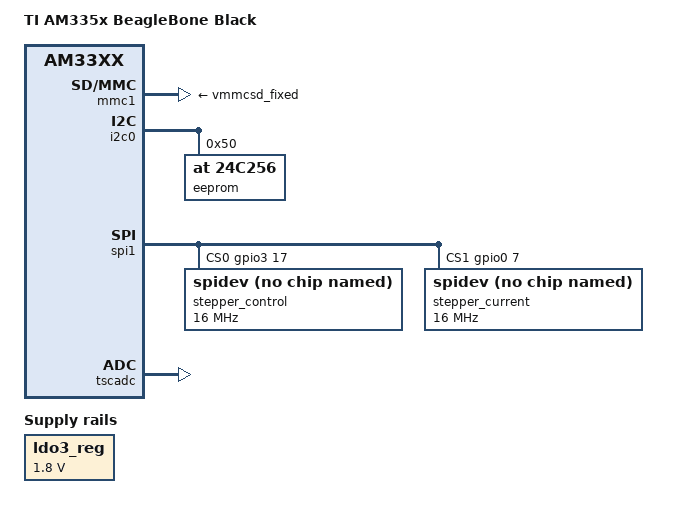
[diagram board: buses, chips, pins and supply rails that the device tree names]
/*
 * Copyright (C) 2012 Texas Instruments Incorporated - http://www.ti.com/
 *
 * This program is free software; you can redistribute it and/or modify
 * it under the terms of the GNU General Public License version 2 as
 * published by the Free Software Foundation.
 */
/dts-v1/;

#include "am33xx.dtsi"
#include "am335x-bone-common.dtsi"

/ {
	model = "TI AM335x BeagleBone Black";
	compatible = "ti,am335x-bone-black", "ti,am335x-bone", "ti,am33xx";
};

/* Max Core Speed */
#include "am335x-boneblack-1ghz.dtsi"
/* #include "am335x-boneblack-800mhz.dtsi" */

&ldo3_reg {
	regulator-min-microvolt = <1800000>;
	regulator-max-microvolt = <1800000>;
	regulator-always-on;
};

&mmc1 {
	vmmc-supply = <&vmmcsd_fixed>;
};

&am33xx_pinmux {
	pinctrl-names = "default";
	pinctrl-0 = <&clkout2_pin>;
};

#include "am335x-peripheral-emmc.dtsi"
#include "am335x-bone-pinmux-emmc.dtsi"
/* #include "am335x-bone-emmc-in-reset.dtsi" */

#include "am335x-peripheral-nxp-hdmi.dtsi"
#include "am335x-bone-pinmux-nxp-hdmi.dtsi"

&rtc {
	system-power-controller;
};

/* #include "am335x-peripheral-can0.dtsi" */
/* #include "am335x-bone-pinmux-can0.dtsi" */

/* #include "am335x-peripheral-can1.dtsi" */
/* #include "am335x-bone-pinmux-can1.dtsi" */

/* #include "am335x-peripheral-ttyO1.dtsi" */
/* #include "am335x-bone-pinmux-ttyO1.dtsi" */

/* #include "am335x-peripheral-ttyO2.dtsi" */
/* #include "am335x-bone-pinmux-ttyO2.dtsi" */

/* #include "am335x-peripheral-ttyO4.dtsi" */
/* #include "am335x-bone-pinmux-ttyO4.dtsi" */

/* #include "am335x-peripheral-ttyO5.dtsi" */
/* #include "am335x-bone-pinmux-ttyO5.dtsi" */


&i2c0 {
        eeprom: eeprom@50 {
                compatible = "at,24c256";
                reg = <0x50>;
        };
};



&am33xx_pinmux {
	bone_replicape_spi1_pins: pinmux_replicape_spi1_pins {
                pinctrl-single,pins = <
                        0x190 0x13      /* P9_31 = mcasp0_aclkx.spi1_sclk                                , OUTPUT_PULLUP | MODE3 */
                        0x194 0x33      /* P9_29 = mcasp0_fsx.spi1_d0                                    , INPUT_PULLUP  | MODE3 */
                        0x198 0x13      /* P9_30 = mcasp0_axr0.spi1_d1                                   , OUTPUT_PULLUP | MODE3 */
                        0x19c 0x13      /* P9_28 = mcasp0_ahclkr.spi1_cs0                                , OUTPUT_PULLUP | MODE3 */
                        0x164 0x12  /* P9_42 = GPIO0_7 =  eCAP0_in_PWM0_out.gpio0[7] , OUTPUT_PULLUP | MODE2 */
                >;
        };
	pruicss_stepper_pins: pinmux_pruicss_stepper_pins{
                pinctrl-single,pins = <
                        0x038 0x07 // P8_16 (3)  = DIR_EXT_2    = GPIO1_14
                        0x03C 0x07 // P8_15 (4)  = DIR_EXT_1    = GPIO1_15
                        0x028 0x07 // P8_14 (5)  = DIR_Z                = GPIO0_26
                        0x02C 0x07 // P8_17 (6)  = STEP_X               = GPIO0_27
                        0x034 0x07 // P8_11 (22) = step_ext_2   = GPIO1_13
                        0x030 0x07 // P8_12 (23) = Step_y               = GPIO1_12
                        0x024 0x07 // P8_13 (24) = Step_z               = GPIO0_23
                        0x020 0x07 // P8_19 (25) = Dir_y                = GPIO0_22
                        0x07C 0x07 // P8_26      = Dir_x                = GPIO1_29
                        0x078 0x07 // P9_12      = step ext 1   = GPIO1_28
                >;
        };

        stepper_fault_pins: pinmux_stepper_fault_pins{
                pinctrl-single,pins = <
                        0x094 0x37 // P8_8  = Fault Ext 2       = GPIO2_3    gpmc_oen_ren.gpio2[3]
                        0x09C 0x37 // P8_9  = FAYLT Y           = GPIO2_5
                        0x098 0x37 // P8_10 = FAULT X           = GPIO2_4    gpmc_wen.gpio2[4]
                        0x08C 0x37 // P8_18 = Fault_ext 1       = GPIO2_1
                        0x184 0x37 // P9_24 = Fault Z           = GPIO0_15
                >;
        };

        end_stop_pins: pinmux_end_stop_pins{
                pinctrl-single,pins = <
                        0x1AC 0x37 // P9_25 = End stop X1  = GPIO3_21
                        0x070 0x37 // P9_11 = End stop X2  = GPIO0_30
                        0x044 0x37 // P9_23 = End stop Y1  = GPIO1_17
                        0x04C 0x37 // P9_16 = End stop Y2  = GPIO1_19
                        0x074 0x37 // P9_13 = End stop Z1  = GPIO0_31
                        0x158 0x37 // P9_18 = End stop Z2  = GPIO0_4
                >;
        };
        dallas_w1_pins: pinmux_dallas_w1_pins {
                pinctrl-single,pins = <
                                0x150 0x37      // Dallas 1W
                >;
        };
};

&spi1 {
        #address-cells  = <1>;
        #size-cells     = <0>;
        status                  = "okay";
        pinctrl-names   = "default";
        pinctrl-0               = <&bone_replicape_spi1_pins>;
        cs-gpios                = <&gpio3 17 0>, <&gpio0 7 0>;

        stepper_control{
                #address-cells    = <1>;
                #size-cells       = <0>;
                compatible                = "spidev";
                reg                       = <0>;
                spi-max-frequency = <16000000>;
                spi-cpha;                 // Stepper control has mode 1 (CPOL = 0, CPHA = 1)
        };

        stepper_current{
                #address-cells    = <1>;
                #size-cells       = <0>;
                compatible                = "spidev";
                reg                       = <1>;
                spi-max-frequency = <16000000>;
                // Stepper current has mode 0 (CPOL = 0, CPHA = 0)
        };
};


#include "am335x-bone-i2c2-cape-eeprom.dtsi"


/* Touch Screen (stolen from Pepper) */
&tscadc {
	status = "okay";
	adc {
		ti,adc-channels = <4 5 6 7>;
	};
};


/*&pruss {
        status = "okay";
        pinctrl-names = "default";
        pinctrl-0         = <&pruicss_stepper_pins>;

        stepper_x{
                pin-names       = "Replic:pru-step_x", "Replic:pru-dir_x";
                gpios           = <&gpio1 27 0
                                           &gpio2 29 0>;
        };
        stepper_y{
                pin-names       = "Replic:pru-step_y", "Replic:pru-dir_y";
                gpios           =<&gpio2 12 0
                                          &gpio1 22 0>;
        };
        stepper_z{
                pin-names       = "Replic:pru-step_z", "Replic:pru-dir_z";
                gpios           = <&gpio1 23 0
                                           &gpio1 26 0>;
        };
        stepper_ext_1{
                pin-names       = "Replic:pru-step_ext_1", "Replic:pru-dir_ext_1";
                gpios           = <&gpio2 28 0
                                           &gpio2 15 0>;
        };
        stepper_ext_2{
                pin-names       = "Replic:pru-step_ext_2", "Replic:pru-dir_ext_2";
                gpios           = <&gpio2 13 0
                                           &gpio2 14 0>;
        };
};*/

